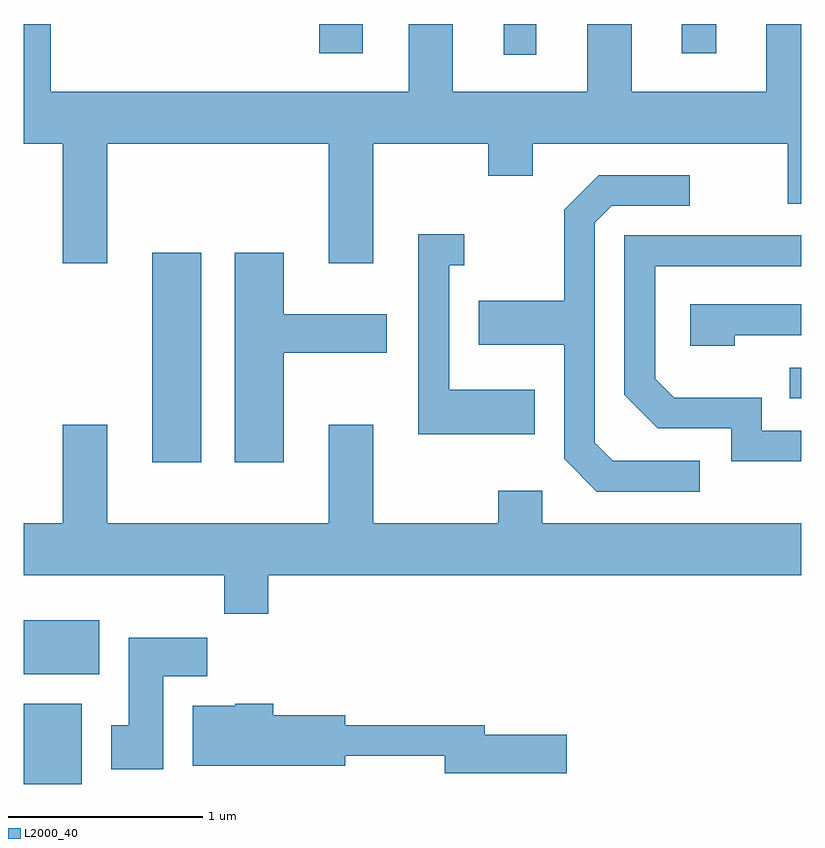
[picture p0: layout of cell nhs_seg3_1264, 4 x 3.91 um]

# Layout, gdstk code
import gdstk
lib = gdstk.Library(unit=1e-6, precision=1e-09)
def R(c, l, rs):  # rectangles x0, y0, x1, y1
    for r in rs: c.add(gdstk.rectangle(r[:2], r[2:], *l))
def P(c, l, *ps):  # polygons
    for p in ps: c.add(gdstk.Polygon(p, *l))
L2000_40 = (2000, 40)

nhs_seg3_1264 = lib.new_cell('nhs_seg3_1264')
R(nhs_seg3_1264, L2000_40, [(221.611,1195.981,221.909,1196.394), (221.611,1196.546,221.999,1196.824), (222.271,1197.636,222.524,1198.714), (225.553,1197.966,225.611,1198.124), (224.081,1199.733,224.249,1199.892), (223.131,1199.741,223.354,1199.892), (224.996,1199.741,225.174,1199.892)])
P(nhs_seg3_1264, L2000_40, [(222.039,1199.276),(223.181,1199.276),(223.181,1198.661),(223.409,1198.661),(223.409,1199.276),(224.001,1199.276),(224.001,1199.111),(224.229,1199.111),(224.229,1199.276),(225.541,1199.276),(225.541,1198.966),(225.611,1198.966),(225.611,1199.892),(225.431,1199.892),(225.431,1199.544),(224.739,1199.544),(224.739,1199.892),(224.511,1199.892),(224.511,1199.544),(223.819,1199.544),(223.819,1199.892),(223.591,1199.892),(223.591,1199.544),(221.749,1199.544),(221.749,1199.892),(221.611,1199.892),(221.611,1199.276),(221.811,1199.276),(221.811,1198.661),(222.039,1198.661)],
  [(225.088,1197.644),(224.642,1197.644),(224.549,1197.737),(224.549,1198.869),(224.637,1198.956),(225.038,1198.956),(225.038,1199.114),(224.569,1199.114),(224.391,1198.937),(224.391,1198.469),(223.951,1198.469),(223.951,1198.241),(224.391,1198.241),(224.391,1197.654),(224.559,1197.486),(225.088,1197.486)],
  [(224.239,1198.009),(223.799,1198.009),(223.799,1198.651),(223.878,1198.651),(223.878,1198.809),(223.641,1198.809),(223.641,1197.781),(224.239,1197.781)],
  [(225.611,1197.799),(225.409,1197.799),(225.409,1197.969),(224.957,1197.969),(224.859,1198.067),(224.859,1198.646),(225.611,1198.646),(225.611,1198.804),(224.701,1198.804),(224.701,1197.984),(224.874,1197.811),(225.251,1197.811),(225.251,1197.641),(225.611,1197.641)],
  [(222.949,1198.201),(223.479,1198.201),(223.479,1198.399),(222.949,1198.399),(222.949,1198.714),(222.696,1198.714),(222.696,1197.636),(222.949,1197.636)],
  [(225.269,1198.291),(225.611,1198.291),(225.611,1198.449),(225.041,1198.449),(225.041,1198.236),(225.269,1198.236)],
  [(222.869,1197.056),(225.611,1197.056),(225.611,1197.324),(224.279,1197.324),(224.279,1197.489),(224.051,1197.489),(224.051,1197.324),(223.409,1197.324),(223.409,1197.829),(223.181,1197.829),(223.181,1197.324),(222.039,1197.324),(222.039,1197.829),(221.811,1197.829),(221.811,1197.324),(221.611,1197.324),(221.611,1197.056),(222.641,1197.056),(222.641,1196.856),(222.869,1196.856)],
  [(222.329,1196.536),(222.554,1196.536),(222.554,1196.734),(222.151,1196.734),(222.151,1196.284),(222.061,1196.284),(222.061,1196.056),(222.329,1196.056)],
  [(224.404,1196.234),(223.984,1196.234),(223.984,1196.284),(223.264,1196.284),(223.264,1196.334),(222.894,1196.334),(222.894,1196.394),(222.7,1196.394),(222.7,1196.384),(222.481,1196.384),(222.481,1196.076),(223.264,1196.076),(223.264,1196.126),(223.776,1196.126),(223.776,1196.036),(224.404,1196.036)])

lib.write_gds('nhs_seg3_1264.gds')
